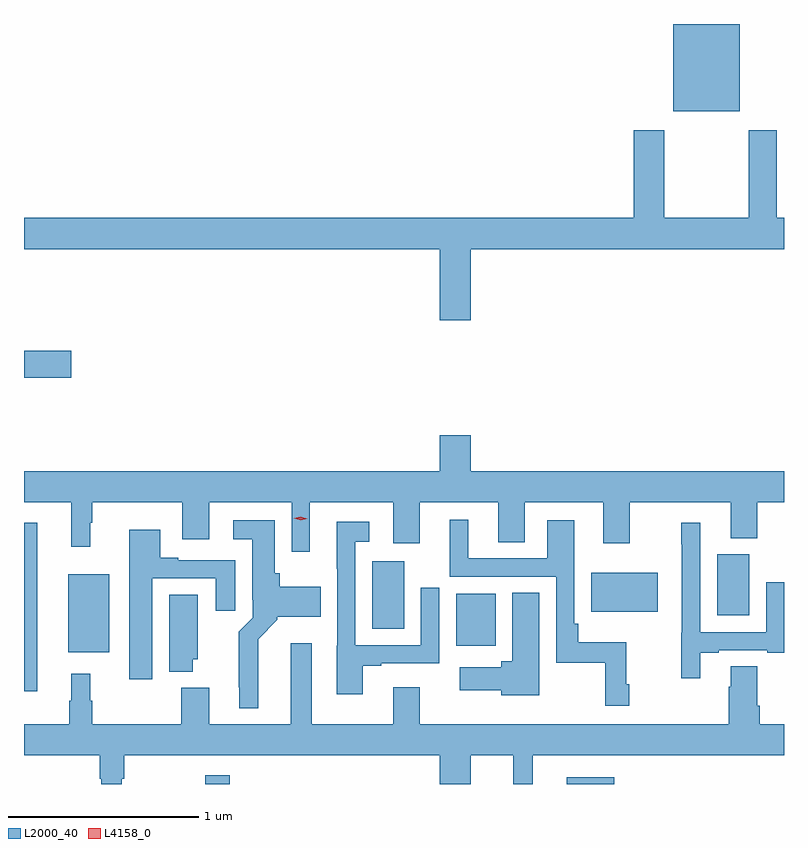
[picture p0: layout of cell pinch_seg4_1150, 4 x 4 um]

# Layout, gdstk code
import gdstk
lib = gdstk.Library(unit=1e-6, precision=1e-09)
def R(c, l, rs):  # rectangles x0, y0, x1, y1
    for r in rs: c.add(gdstk.rectangle(r[:2], r[2:], *l))
def P(c, l, *ps):  # polygons
    for p in ps: c.add(gdstk.Polygon(p, *l))
L2000_40 = (2000, 40)
L4158_0 = (4158, 0)

pinch_seg4_1150 = lib.new_cell('pinch_seg4_1150')
R(pinch_seg4_1150, L2000_40, [(487.452,762.037,487.58,762.082), (489.353,762.037,489.604,762.073), (486.497,762.524,486.568,763.411), (486.731,762.731,486.946,763.141), (488.771,762.764,488.98,763.039), (488.33,762.853,488.497,763.21), (490.145,762.926,490.315,763.246), (489.482,762.944,489.832,763.15), (486.497,764.176,486.745,764.318), (489.914,765.578,490.264,766.037)])
P(pinch_seg4_1150, L2000_40, [(488.848,764.852),(490.497,764.852),(490.497,765.016),(490.459,765.016),(490.459,765.478),(490.312,765.478),(490.312,765.016),(489.867,765.016),(489.867,765.478),(489.707,765.478),(489.707,765.016),(486.497,765.016),(486.497,764.852),(488.684,764.852),(488.684,764.478),(488.848,764.478)],
  [(488.002,763.52),(488.441,763.52),(488.441,763.305),(488.581,763.305),(488.581,763.52),(488.993,763.52),(488.993,763.309),(489.133,763.309),(489.133,763.52),(489.545,763.52),(489.545,763.305),(489.685,763.305),(489.685,763.52),(490.217,763.52),(490.217,763.331),(490.357,763.331),(490.357,763.52),(490.497,763.52),(490.497,763.684),(488.848,763.684),(488.848,763.873),(488.684,763.873),(488.684,763.684),(486.497,763.684),(486.497,763.52),(486.746,763.52),(486.746,763.287),(486.845,763.287),(486.845,763.412),(486.856,763.412),(486.856,763.52),(487.331,763.52),(487.331,763.326),(487.471,763.326),(487.471,763.52),(487.905,763.52),(487.905,763.26),(488.002,763.26)],
  [(489.683,762.562),(489.668,762.562),(489.668,762.784),(489.413,762.784),(489.413,762.88),(489.393,762.88),(489.393,763.426),(489.251,763.426),(489.251,763.224),(488.836,763.224),(488.836,763.429),(488.737,763.429),(488.737,763.128),(489.297,763.128),(489.297,762.675),(489.555,762.675),(489.555,762.45),(489.683,762.45)],
  [(487.729,762.8),(487.83,762.902),(487.83,762.917),(488.059,762.917),(488.059,763.075),(487.842,763.075),(487.842,763.146),(487.816,763.146),(487.816,763.426),(487.599,763.426),(487.599,763.325),(487.697,763.325),(487.697,763.006),(487.701,763.006),(487.701,762.912),(487.627,762.838),(487.627,762.547),(487.631,762.547),(487.631,762.437),(487.729,762.437)],
  [(488.281,762.66),(488.377,762.66),(488.377,762.672),(488.682,762.672),(488.682,763.069),(488.586,763.069),(488.586,762.768),(488.241,762.768),(488.241,763.311),(488.314,763.311),(488.314,763.417),(488.144,763.417),(488.144,763.171),(488.145,763.171),(488.145,762.765),(488.144,762.765),(488.144,762.51),(488.281,762.51)],
  [(490.057,762.729),(490.153,762.729),(490.153,762.741),(490.409,762.741),(490.409,762.729),(490.497,762.729),(490.497,763.099),(490.403,763.099),(490.403,762.837),(490.056,762.837),(490.056,763.411),(489.955,763.411),(489.955,763.298),(489.96,763.298),(489.96,762.834),(489.955,762.834),(489.955,762.594),(490.057,762.594)],
  [(487.171,763.119),(487.505,763.119),(487.505,762.948),(487.609,762.948),(487.609,763.215),(487.309,763.215),(487.309,763.228),(487.213,763.228),(487.213,763.375),(487.052,763.375),(487.052,762.588),(487.171,762.588)],
  [(489.208,763.043),(489.068,763.043),(489.068,762.684),(489.009,762.684),(489.009,762.652),(488.79,762.652),(488.79,762.53),(489.009,762.53),(489.009,762.503),(489.208,762.503)],
  [(487.384,762.693),(487.411,762.693),(487.411,763.034),(487.262,763.034),(487.262,762.629),(487.384,762.629)],
  [(487.012,762.065),(487.024,762.065),(487.024,762.188),(488.684,762.188),(488.684,762.037),(488.848,762.037),(488.848,762.188),(489.071,762.188),(489.071,762.037),(489.175,762.037),(489.175,762.188),(490.497,762.188),(490.497,762.352),(490.37,762.352),(490.37,762.448),(490.357,762.448),(490.357,762.656),(490.217,762.656),(490.217,762.548),(490.205,762.548),(490.205,762.352),(488.581,762.352),(488.581,762.547),(488.441,762.547),(488.441,762.352),(488.011,762.352),(488.011,762.778),(487.901,762.778),(487.901,762.352),(487.471,762.352),(487.471,762.544),(487.324,762.544),(487.324,762.352),(486.856,762.352),(486.856,762.476),(486.845,762.476),(486.845,762.616),(486.746,762.616),(486.746,762.476),(486.735,762.476),(486.735,762.352),(486.497,762.352),(486.497,762.188),(486.895,762.188),(486.895,762.065),(486.903,762.065),(486.903,762.037),(487.012,762.037)])
P(pinch_seg4_1150, L4158_0, [(487.953,763.424),(487.917,763.435),(487.917,763.435),(487.917,763.435),(487.953,763.444),(487.988,763.434),(487.988,763.434),(487.988,763.434)])

lib.write_gds('pinch_seg4_1150.gds')
